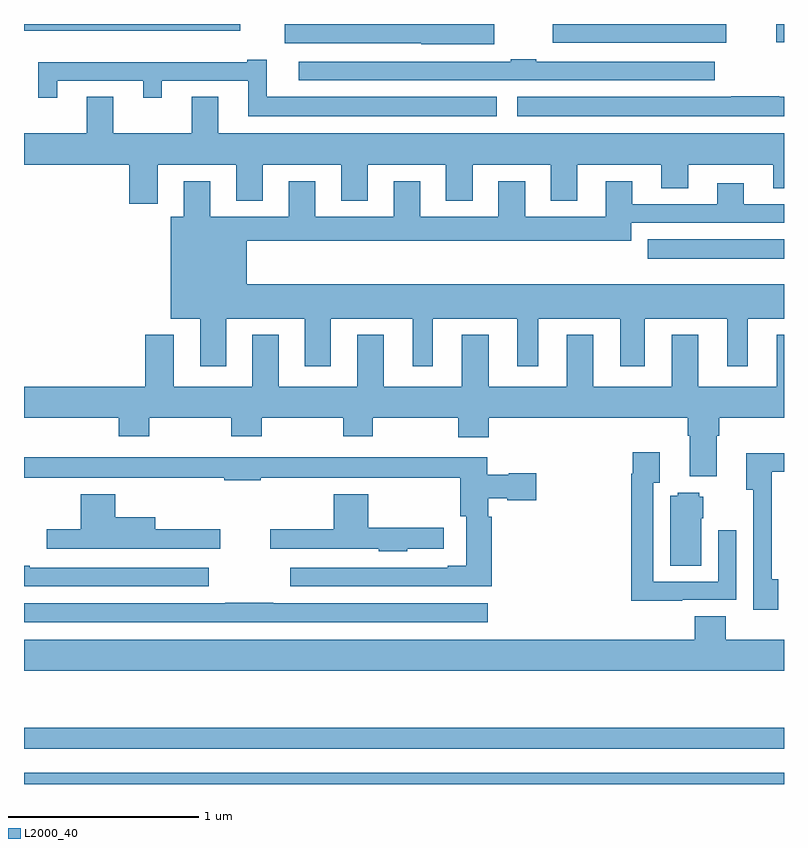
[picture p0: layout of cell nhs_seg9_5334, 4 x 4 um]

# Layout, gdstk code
import gdstk
lib = gdstk.Library(unit=1e-6, precision=1e-09)
def R(c, l, rs):  # rectangles x0, y0, x1, y1
    for r in rs: c.add(gdstk.rectangle(r[:2], r[2:], *l))
def P(c, l, *ps):  # polygons
    for p in ps: c.add(gdstk.Polygon(p, *l))
L2000_40 = (2000, 40)

nhs_seg9_5334 = lib.new_cell('nhs_seg9_5334')
R(nhs_seg9_5334, L2000_40, [(421,1186.5,425,1186.56), (421,1186.686,425,1186.795), (424.284,1189.265,425,1189.366), (423.783,1190.402,424.696,1190.5), (424.959,1190.403,425,1190.5), (421,1190.465,422.137,1190.5)])
P(nhs_seg9_5334, L2000_40, [(423.475,1190.5),(422.373,1190.5),(422.373,1190.399),(423.09,1190.399),(423.09,1190.393),(423.475,1190.393)],
  [(424.636,1190.301),(423.695,1190.301),(423.695,1190.314),(423.562,1190.314),(423.562,1190.301),(422.445,1190.301),(422.445,1190.205),(424.636,1190.205)],
  [(423.487,1190.116),(422.278,1190.116),(422.278,1190.311),(422.174,1190.311),(422.174,1190.299),(421.076,1190.299),(421.076,1190.112),(421.174,1190.112),(421.174,1190.202),(421.628,1190.202),(421.628,1190.112),(421.726,1190.112),(421.726,1190.202),(422.18,1190.202),(422.18,1190.015),(423.487,1190.015)],
  [(425,1190.116),(424.976,1190.116),(424.976,1190.119),(424.723,1190.119),(424.723,1190.116),(423.597,1190.116),(423.597,1190.015),(425,1190.015)],
  [(421.705,1189.76),(422.117,1189.76),(422.117,1189.571),(422.257,1189.571),(422.257,1189.76),(422.669,1189.76),(422.669,1189.571),(422.809,1189.571),(422.809,1189.76),(423.221,1189.76),(423.221,1189.571),(423.361,1189.571),(423.361,1189.76),(423.773,1189.76),(423.773,1189.571),(423.913,1189.571),(423.913,1189.76),(424.355,1189.76),(424.355,1189.636),(424.495,1189.636),(424.495,1189.76),(424.943,1189.76),(424.943,1189.636),(425,1189.636),(425,1189.924),(422.023,1189.924),(422.023,1190.117),(421.883,1190.117),(421.883,1189.924),(421.471,1189.924),(421.471,1190.117),(421.331,1190.117),(421.331,1189.924),(421,1189.924),(421,1189.76),(421.553,1189.76),(421.553,1189.554),(421.705,1189.554)],
  [(422.065,1188.95),(422.477,1188.95),(422.477,1188.699),(422.614,1188.699),(422.614,1188.95),(423.047,1188.95),(423.047,1188.699),(423.151,1188.699),(423.151,1188.95),(423.596,1188.95),(423.596,1188.699),(423.706,1188.699),(423.706,1188.95),(424.139,1188.95),(424.139,1188.699),(424.267,1188.699),(424.267,1188.95),(424.7,1188.95),(424.7,1188.699),(424.81,1188.699),(424.81,1188.95),(425,1188.95),(425,1189.129),(422.173,1189.129),(422.173,1189.358),(424.195,1189.358),(424.195,1189.455),(425,1189.455),(425,1189.551),(424.789,1189.551),(424.789,1189.663),(424.649,1189.663),(424.649,1189.551),(424.201,1189.551),(424.201,1189.672),(424.061,1189.672),(424.061,1189.486),(423.637,1189.486),(423.637,1189.672),(423.497,1189.672),(423.497,1189.486),(423.085,1189.486),(423.085,1189.672),(422.945,1189.672),(422.945,1189.486),(422.533,1189.486),(422.533,1189.672),(422.393,1189.672),(422.393,1189.486),(421.981,1189.486),(421.981,1189.672),(421.841,1189.672),(421.841,1189.486),(421.772,1189.486),(421.772,1188.95),(421.928,1188.95),(421.928,1188.699),(422.065,1188.699)],
  [(424.645,1188.332),(424.658,1188.332),(424.658,1188.428),(425,1188.428),(425,1188.865),(424.961,1188.865),(424.961,1188.592),(424.549,1188.592),(424.549,1188.865),(424.409,1188.865),(424.409,1188.592),(423.997,1188.592),(423.997,1188.865),(423.857,1188.865),(423.857,1188.592),(423.445,1188.592),(423.445,1188.865),(423.305,1188.865),(423.305,1188.592),(422.893,1188.592),(422.893,1188.865),(422.753,1188.865),(422.753,1188.592),(422.341,1188.592),(422.341,1188.865),(422.201,1188.865),(422.201,1188.592),(421.789,1188.592),(421.789,1188.865),(421.637,1188.865),(421.637,1188.592),(421,1188.592),(421,1188.428),(421.499,1188.428),(421.499,1188.329),(421.659,1188.329),(421.659,1188.428),(422.092,1188.428),(422.092,1188.329),(422.25,1188.329),(422.25,1188.428),(422.68,1188.428),(422.68,1188.329),(422.835,1188.329),(422.835,1188.428),(423.286,1188.428),(423.286,1188.326),(423.446,1188.326),(423.446,1188.428),(424.493,1188.428),(424.493,1188.332),(424.505,1188.332),(424.505,1188.119),(424.645,1188.119)],
  [(424.465,1187.469),(424.749,1187.469),(424.749,1187.836),(424.653,1187.836),(424.653,1187.565),(424.311,1187.565),(424.311,1188.086),(424.345,1188.086),(424.345,1188.247),(424.203,1188.247),(424.203,1188.134),(424.195,1188.134),(424.195,1187.465),(424.465,1187.465)],
  [(424.969,1187.578),(424.935,1187.578),(424.935,1188.144),(425,1188.144),(425,1188.242),(424.802,1188.242),(424.802,1188.05),(424.839,1188.05),(424.839,1187.418),(424.969,1187.418)],
  [(423.461,1187.907),(423.443,1187.907),(423.443,1188.005),(423.544,1188.005),(423.544,1187.993),(423.697,1187.993),(423.697,1188.135),(423.552,1188.135),(423.552,1188.127),(423.437,1188.127),(423.437,1188.22),(421,1188.22),(421,1188.113),(422.055,1188.113),(422.055,1188.098),(422.246,1188.098),(422.246,1188.113),(423.296,1188.113),(423.296,1187.909),(423.327,1187.909),(423.327,1187.65),(423.23,1187.65),(423.23,1187.637),(422.4,1187.637),(422.4,1187.541),(423.461,1187.541)],
  [(424.564,1187.898),(424.576,1187.898),(424.576,1188.012),(424.554,1188.012),(424.554,1188.034),(424.44,1188.034),(424.44,1188.016),(424.4,1188.016),(424.4,1187.65),(424.564,1187.65)],
  [(423.018,1187.738),(423.208,1187.738),(423.208,1187.848),(422.813,1187.848),(422.813,1188.025),(422.63,1188.025),(422.63,1187.84),(422.295,1187.84),(422.295,1187.739),(422.868,1187.739),(422.868,1187.726),(423.018,1187.726)],
  [(422.032,1187.842),(421.69,1187.842),(421.69,1187.905),(421.481,1187.905),(421.481,1188.025),(421.298,1188.025),(421.298,1187.842),(421.119,1187.842),(421.119,1187.738),(422.032,1187.738)],
  [(421.972,1187.637),(421.031,1187.637),(421.031,1187.65),(421,1187.65),(421,1187.541),(421.972,1187.541)],
  [(423.442,1187.452),(422.312,1187.452),(422.312,1187.455),(422.059,1187.455),(422.059,1187.452),(421,1187.452),(421,1187.351),(423.442,1187.351)],
  [(425,1187.26),(424.694,1187.26),(424.694,1187.384),(424.529,1187.384),(424.529,1187.26),(421,1187.26),(421,1187.096),(425,1187.096)])

lib.write_gds('nhs_seg9_5334.gds')
